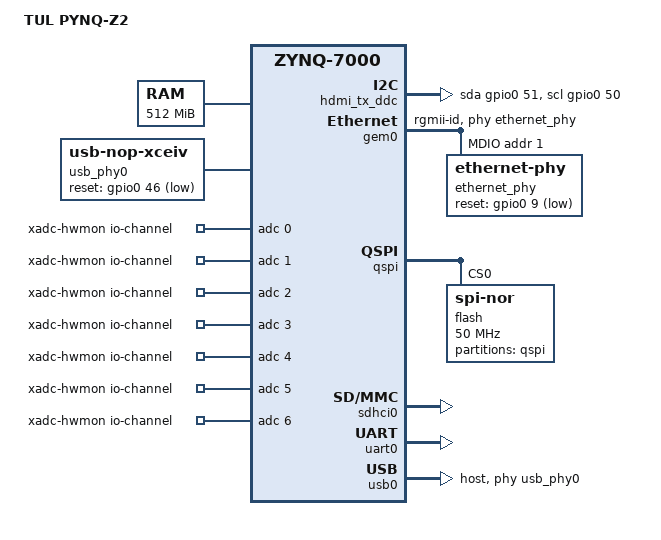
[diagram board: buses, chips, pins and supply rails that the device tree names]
// SPDX-License-Identifier: MIT
/*
 * TUL PYNQ-Z2 (XC7Z020-1CLG400C). The PS peripherals of the board preset (docs/ps.md): UART0 on
 * MIO14/15, GEM0 with the RTL8211E-VL, SDIO0, USB0 (host) with the TUSB1210, QSPI with the
 * S25FL128S, and the HDMI output DDC on MIO50/51. The PL peripherals need a PL design and are not here.
 * linux/build-kernel.sh copies this file to arch/arm/boot/dts/xilinx/ of the kernel and U-Boot trees.
 */
/dts-v1/;
#include "zynq-7000.dtsi"
#include <dt-bindings/gpio/gpio.h>

/ {
	model = "TUL PYNQ-Z2";
	compatible = "tul,pynq-z2", "xlnx,zynq-7000";

	aliases {
		ethernet0 = &gem0;
		i2c0 = &hdmi_tx_ddc;
		mmc0 = &sdhci0;
		serial0 = &uart0;
		spi0 = &qspi;
	};

	chosen {
		stdout-path = "serial0:115200n8";
	};

	/* 512 MiB of DDR3 on 16 bits (docs/ps.md). */
	memory@0 {
		device_type = "memory";
		reg = <0x0 0x20000000>;
	};

	/*
	 * The PS/PL interface of docs/pl-interface.md. A PL master on an S_AXI_HP port uses this region;
	 * user space maps it through /dev/mem with O_SYNC. With no-map, the kernel neither uses nor maps it.
	 */
	reserved-memory {
		#address-cells = <1>;
		#size-cells = <1>;
		ranges;

		pl_buffer: pl-buffer@1f000000 {
			reg = <0x1f000000 0x01000000>;
			no-map;
		};
	};

	/*
	 * The registers of the PL design on M_AXI_GP0, and IRQF2P[0] (GIC ID 61, SPI 29, level high), for
	 * uio_pdrv_genirq (uio_pdrv_genirq.of_id=generic-uio on the command line). The driver does not
	 * read the registers. Without a PL design that answers, a read in this window stops the PS.
	 */
	pl_uio: pl-uio@40000000 {
		compatible = "generic-uio";
		reg = <0x40000000 0x00100000>;
		interrupt-parent = <&intc>;
		interrupts = <0 29 4>;
		linux,uio-name = "pl";
	};

	/* The ULPI PHY U9; MIO46 is its RESETB (docs/usb.md). */
	usb_phy0: phy0 {
		compatible = "usb-nop-xceiv";
		#phy-cells = <0>;
		reset-gpios = <&gpio0 46 GPIO_ACTIVE_LOW>;
	};

	/*
	 * The DDC of HDMI_OUT. The board preset makes MIO50/51 GPIO, not I2C0 (docs/ps.md). U8 translates the
	 * levels and the board has the pull-ups (docs/hdmi.md). A monitor answers at 0x50 with its EDID.
	 */
	hdmi_tx_ddc: i2c-ddc {
		compatible = "i2c-gpio";
		sda-gpios = <&gpio0 51 (GPIO_ACTIVE_HIGH | GPIO_OPEN_DRAIN)>;
		scl-gpios = <&gpio0 50 (GPIO_ACTIVE_HIGH | GPIO_OPEN_DRAIN)>;
		i2c-gpio,delay-us = <5>;	/* 100 kHz */
		#address-cells = <1>;
		#size-cells = <0>;
	};

	/*
	 * The XADC of the SoC as a hwmon device for lm-sensors (docs/fpga.md). The indices are the channel
	 * order of the xilinx-xadc driver: the temperature, then VCCINT, VCCAUX, VCCBRAM, VCCPINT, VCCPAUX
	 * and VCCO_DDR. The labels come from the driver.
	 */
	xadc-hwmon {
		compatible = "iio-hwmon";
		io-channels = <&adc 0>, <&adc 1>, <&adc 2>, <&adc 3>, <&adc 4>, <&adc 5>, <&adc 6>;
	};
};

&adc {
	#io-channel-cells = <1>;
};

&clkc {
	ps-clk-frequency = <50000000>;	/* OSC3 (docs/clocks.md) */
	/*
	 * FCLK0 stays on for the PL (docs/pl-interface.md). zynq-7000.dtsi has 0: then the kernel turns the
	 * FCLKs off at the end of the boot, because no driver uses them.
	 */
	fclk-enable = <0x1>;
};

/*
 * The board preset runs the CPU at 650 MHz: the ARM PLL at 1300 MHz (50 MHz x 26), divided by 2
 * (docs/ps.md). The table of zynq-7000.dtsi has 666667 and 333334 kHz. With an unlisted start frequency,
 * cpufreq-dt tries to change it, the clock refuses (-EBUSY), and the kernel stops at a BUG_ON. The table
 * here has the divisors 2 and 4 of the same PLL.
 */
&cpu0 {
	operating-points = <
		/* kHz    uV */
		650000  1000000
		325000  1000000
	>;
};

&gem0 {
	status = "okay";
	/*
	 * The PHY adds the RGMII delays: its TXDLY and RXDLY straps are pulled up (docs/ethernet.md), and the
	 * Realtek driver sets the same delays for rgmii-id. The meaning of the straps is not yet confirmed
	 * (docs/unknowns.md).
	 */
	phy-mode = "rgmii-id";
	phy-handle = <&ethernet_phy>;

	mdio {
		#address-cells = <1>;
		#size-cells = <0>;

		/* MDIO address 1 by the straps PHY_AD2..0 = 001. */
		ethernet_phy: ethernet-phy@1 {
			reg = <1>;
			/*
			 * MIO9 is PHYRSTB. SYSCLK (125 MHz, H16) of the PL comes from this PHY and stops during
			 * the reset.
			 */
			reset-gpios = <&gpio0 9 GPIO_ACTIVE_LOW>;
			reset-assert-us = <10000>;
			reset-deassert-us = <30000>;
		};
	};
};

&gpio0 {
	status = "okay";
};

&qspi {
	bootph-all;	/* U-Boot SPL uses it */
	status = "okay";

	flash@0 {
		compatible = "jedec,spi-nor";
		reg = <0>;
		spi-max-frequency = <50000000>;
		spi-rx-bus-width = <4>;
		spi-tx-bus-width = <1>;

		/* The flash can hold the only boot image of the board: Linux does not write it (AGENTS.md). */
		partitions {
			compatible = "fixed-partitions";
			#address-cells = <1>;
			#size-cells = <1>;

			partition@0 {
				label = "qspi";
				reg = <0x0 0x1000000>;
				read-only;
			};
		};
	};
};

&sdhci0 {
	bootph-all;	/* U-Boot SPL uses it */
	status = "okay";
	/* The card runs at 3.3 V only, and the board has no write-protect line (docs/sd-card.md). */
	no-1-8-v;
	disable-wp;
};

&uart0 {
	bootph-all;	/* U-Boot SPL uses it */
	status = "okay";
};

&usb0 {
	status = "okay";
	dr_mode = "host";	/* type-A receptacle, ID on GND (docs/usb.md) */
	/*
	 * "phys", not the old "usb-phy": the ChipIdea driver looks up only "phys", and defers until the
	 * PHY exists. With "usb-phy", it probed before usb_phy0 and failed silently (-ENXIO, 2026-11-24).
	 */
	phys = <&usb_phy0>;
};
